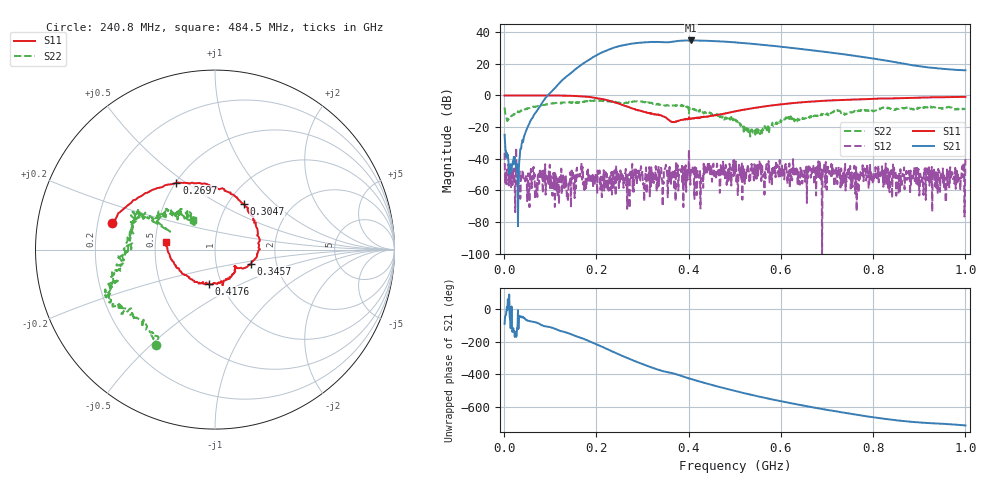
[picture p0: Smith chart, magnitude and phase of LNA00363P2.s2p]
! Created with skrf 1.9.0 (http://scikit-rf.org).
# Hz S RI R 50.0
!freq ReS11 ImS11 ReS21 ImS21 ReS12 ImS12 ReS22 ImS22
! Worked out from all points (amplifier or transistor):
!   1001 points, 1 MHz to 1 GHz, reference 50 ohm
!   highest |S21| = 34.7 dB at 404.6 MHz (marker M1)
!   |S21| within 3 dB of that: 258.5 MHz to 569.5 MHz (310.9 MHz wide, 75.1 % of centre)
!   unconditionally stable (mu >= 1): 26.44 MHz to 74.92 MHz; 277.7 MHz to 400.3 MHz; 400.9 MHz to end of sweep (the widest 3 of 30)
!   at 166.8 MHz: K = 0.63, MSG = 34.1 dB, |S12| = -48.9 dB
!   at 500.5 MHz: K = 2.90, MAG = 34.1 dB, |S12| = -49.6 dB
!   at 1 GHz: K = 1.40, MAG = 24.3 dB, |S12| = -40.2 dB
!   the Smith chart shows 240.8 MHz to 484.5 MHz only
!   S11 on the Smith chart (normalised r, x): 240.8 MHz: 0.26, +0.12; 269.7 MHz: 0.50, +0.46; 304.7 MHz: 1.18, +0.66; 345.7 MHz: 1.48, -0.24; 417.6 MHz: 0.87, -0.34; 484.5 MHz: 0.57, +0.05
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1000000  0.9902 0.00503  0.00168 -0.0569  -0.0139 -0.00647  0.2953 0.2905
1.08892e8  0.5109 -0.8532  -0.7793 -1.448  -0.000675 0.00416  0.4271 -0.3717
1.67833e8  -0.255 -0.8986  -9.45 -0.5601  0.00738 0.000375  0.0402 -0.6354
2.08792e8  -0.6886 -0.3897  -15.19 15.4  0.000316 0.001  -0.2066 -0.6481
2.4076e8  -0.575 0.1472  -2.066 33.22  0.00289 -0.00177  -0.3274 -0.5339
2.69731e8  -0.2155 0.3726  22.29 34.95  0.00117 0.00301  -0.4926 -0.3498
3.04696e8  0.1604 0.2532  45.23 14.7  0.000708 0.00168  -0.566 -0.201
3.34666e8  0.2495 0.00212  47.85 -9.781  -0.00376 0.00455  -0.5064 -0.0249
3.45655e8  0.2005 -0.0778  44.85 -17.07  -0.000164 0.00161  -0.4977 0.0123
3.75625e8  0.1112 -0.105  39.35 -34.7  0.00171 0.00374  -0.4615 0.1823
4.04596e8  0.0316 -0.185  20.63 -50.45  0.000802 0.00464  -0.33 0.1745
4.17583e8  -0.0338 -0.19  10.64 -53  -0.000383 0.000598  -0.2745 0.2153
4.46554e8  -0.1746 -0.1379  -10.65 -51.73  0.00228 0.00198  -0.1911 0.2132
4.84516e8  -0.2741 0.0413  -31.72 -37.87  0.00136 0.00132  -0.1233 0.1659
5.005e8  -0.2808 0.129  -37.34 -29.52  -0.00317 0.000883  -0.1008 0.1285
5.4046e8  -0.2029 0.3428  -41.37 -8.706  0.00274 0.00201  -0.0651 0.0294
5.88412e8  0.00954 0.4983  -34.31 11.33  0.00163 -0.00202  -0.1052 -0.069
6.25375e8  0.1912 0.5386  -24.37 19.65  0.00294 0.000462  -0.163 -0.0876
6.67333e8  0.3933 0.4992  -12.68 23.26  0.0014 0.00264  -0.2005 -0.0366
7.53247e8  0.6773 0.2874  4.046 17.89  -0.000719 -0.00364  -0.2884 0.0271
8.34166e8  0.8019 0.0238  8.813 8.425  -0.00159 -0.00197  -0.3959 0.0876
1e9  0.7316 -0.5228  6.197 0.6937  -0.0093 0.00292  -0.1396 0.3435
